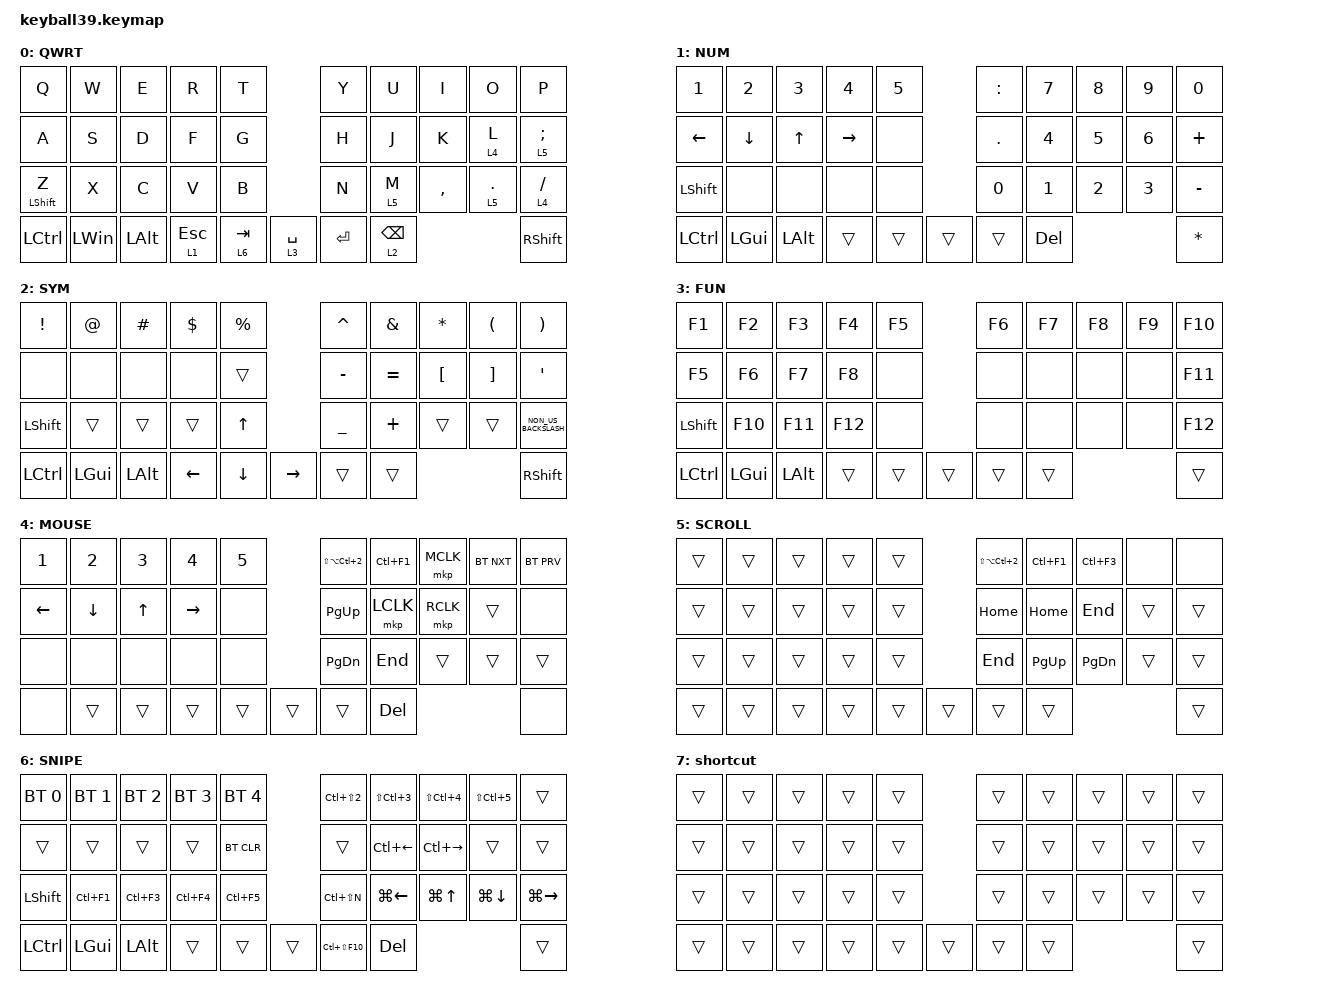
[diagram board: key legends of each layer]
#define DEFAULT 0
#define NUM     1
#define SYM     2
#define FUN     3
#define MOUSE   4
#define SCROLL  5
#define SNIPE   6

#include <behaviors/mouse_keys.dtsi>
#include <dt-bindings/zmk/mouse.h>
#include <dt-bindings/zmk/mouse.h>
#include <dt-bindings/zmk/mouse.h>
#include <dt-bindings/zmk/mouse.h>
#include <dt-bindings/zmk/mouse.h>
#include <dt-bindings/zmk/mouse.h>
#include <dt-bindings/zmk/mouse.h>
#include <dt-bindings/zmk/mouse.h>
#include <dt-bindings/zmk/mouse.h>
#include <dt-bindings/zmk/mouse.h>
#include <dt-bindings/zmk/mouse.h>
#include <dt-bindings/zmk/mouse.h>
#include <dt-bindings/zmk/mouse.h>
#include <dt-bindings/zmk/mouse.h>
#include <dt-bindings/zmk/mouse.h>
#include <dt-bindings/zmk/mouse.h>
#include <dt-bindings/zmk/mouse.h>
#include <dt-bindings/zmk/mouse.h>
#include <dt-bindings/zmk/mouse.h>
#include <dt-bindings/zmk/mouse.h>
#include <behaviors.dtsi>
#include <dt-bindings/zmk/bt.h>
#include <dt-bindings/zmk/keys.h>
#include <dt-bindings/zmk/mouse.h>

&lt {
    tapping-term-ms = <240>;
    flavor = "balanced";
    quick-tap-ms = <150>;
};

&mt {
    tapping-term-ms = <200>;
    flavor = "tap-preferred";
    quick-tap-ms = <150>;
};

&caps_word { continue-list = <UNDERSCORE MINUS>; };

/ {
    // custom shift using mod-morph 

    behaviors {
        cmqus: comma_question {
            compatible = "zmk,behavior-mod-morph";
            label = "COMMA_QUESTION";
            #binding-cells = <0>;
            bindings = <&kp COMMA>, <&kp QUESTION>;

            mods = <(MOD_LSFT|MOD_RSFT)>;
        };

        dtsmi: dot_semi {
            compatible = "zmk,behavior-mod-morph";
            label = "DOT_SEMI";
            #binding-cells = <0>;
            bindings = <&kp DOT>, <&kp SEMI>;

            mods = <(MOD_LSFT|MOD_RSFT)>;
        };
    };

    macros {
        Hiragana: Hiragana {
            compatible = "zmk,behavior-macro";
            #binding-cells = <0>;
            bindings = <&kp LC(SPACE)>;
            label = "HIRAGANA";
        };
    };

    keymap {
        compatible = "zmk,keymap";

        default_layer {
            label = "QWRT";
            bindings = <
&kp Q             &kp W         &kp E     &kp R         &kp T                              &kp Y            &kp U    &kp I      &kp O         &kp P
&kp A             &kp S         &kp D     &kp F         &kp G                              &kp H            &kp J    &kp K      &lt 4 L       &lt 5 SEMICOLON
&mt LEFT_SHIFT Z  &kp X         &kp C     &kp V         &kp B                              &kp N            &lt 5 M  &kp COMMA  &lt 5 PERIOD  &lt 4 SLASH
&kp LCTRL         &kp LEFT_WIN  &kp LALT  &lt 1 ESCAPE  &lt 6 TAB  &lt 3 SPACE  &kp ENTER  &lt 2 BACKSPACE                                    &kp RSHFT
            >;
        };

        number_layer {
            label = "NUM";
            bindings = <
&kp NUMBER_1  &kp NUMBER_2  &kp NUMBER_3  &kp NUMBER_4  &kp NUMBER_5                  &kp COLON     &kp NUMBER_7  &kp NUMBER_8  &kp NUMBER_9  &kp NUMBER_0
&kp LEFT      &kp DOWN      &kp UP_ARROW  &kp RIGHT     &none                         &kp PERIOD    &kp NUMBER_4  &kp NUMBER_5  &kp NUMBER_6  &kp PLUS
&kp LSHIFT    &none         &none         &none         &none                         &kp NUMBER_0  &kp NUMBER_1  &kp NUMBER_2  &kp NUMBER_3  &kp MINUS
&kp LCTRL     &kp LEFT_GUI  &kp LEFT_ALT  &trans        &trans        &trans  &trans  &kp DELETE                                              &kp ASTERISK
            >;
        };

        symbol_layer {
            label = "SYM";
            bindings = <
&kp EXCLAMATION  &kp AT_SIGN   &kp HASH      &kp DOLLAR  &kp PERCENT                     &kp CARET       &kp AMPERSAND  &kp ASTERISK      &kp LEFT_PARENTHESIS  &kp RIGHT_PARENTHESIS
&none            &none         &none         &none       &trans                          &kp MINUS       &kp EQUAL      &kp LEFT_BRACKET  &kp RIGHT_BRACKET     &kp SQT
&kp LEFT_SHIFT   &trans        &trans        &trans      &kp UP                          &kp UNDERSCORE  &kp PLUS       &trans            &trans                &kp NON_US_BACKSLASH
&kp LCTRL        &kp LEFT_GUI  &kp LEFT_ALT  &kp LEFT    &kp DOWN     &kp RIGHT  &trans  &trans                                                                 &kp RIGHT_SHIFT
            >;
        };

        function_layer {
            label = "FUN";
            bindings = <
&kp F1            &kp F2        &kp F3        &kp F4   &kp F5                  &kp F6  &kp F7  &kp F8  &kp F9  &kp F10
&kp F5            &kp F6        &kp F7        &kp F8   &none                   &none   &none   &none   &none   &kp F11
&kp LEFT_SHIFT    &kp F10       &kp F11       &kp F12  &none                   &none   &none   &none   &none   &kp F12
&kp LEFT_CONTROL  &kp LEFT_GUI  &kp LEFT_ALT  &trans   &trans  &trans  &trans  &trans                          &trans
            >;
        };

        mouse_layer {
            label = "MOUSE";
            bindings = <
&kp N1          &kp N2          &kp N3        &kp N4     &kp N5                  &kp LS(LA(LC(NUMBER_2)))  &kp LC(F1)  &mkp MCLK  &bt BT_NXT  &bt BT_PRV
&kp LEFT_ARROW  &kp DOWN_ARROW  &kp UP_ARROW  &kp RIGHT  &none                   &kp PAGE_UP               &mkp LCLK   &mkp RCLK  &trans      &none
&none           &none           &none         &none      &none                   &kp PAGE_DOWN             &kp END     &trans     &trans      &trans
&none           &trans          &trans        &trans     &trans  &trans  &trans  &kp DELETE                                                   &none
            >;
        };

        scroll_layer {
            label = "SCROLL";
            bindings = <
&trans  &trans  &trans  &trans  &trans                  &kp LS(LA(LC(NUMBER_2)))  &kp LC(F1)   &kp LC(F3)     &none   &none
&trans  &trans  &trans  &trans  &trans                  &kp HOME                  &kp HOME     &kp END        &trans  &trans
&trans  &trans  &trans  &trans  &trans                  &kp END                   &kp PAGE_UP  &kp PAGE_DOWN  &trans  &trans
&trans  &trans  &trans  &trans  &trans  &trans  &trans  &trans                                                        &trans
            >;
        };

        snipe_layer {
            label = "SNIPE";
            bindings = <
&bt BT_SEL 0      &bt BT_SEL 1  &bt BT_SEL 2  &bt BT_SEL 3  &bt BT_SEL 4                           &kp LC(LS(NUMBER_2))  &kp LS(LC(NUMBER_3))  &kp LS(LC(NUMBER_4))  &kp LS(LC(N5))  &trans
&trans            &trans        &trans        &trans        &bt BT_CLR                             &trans                &kp LC(LEFT)          &kp LC(RIGHT)         &trans          &trans
&kp LEFT_SHIFT    &kp LC(F1)    &kp LC(F3)    &kp LC(F4)    &kp LC(F5)                             &kp LC(LS(N))         &kp LG(LEFT)          &kp LG(UP_ARROW)      &kp LG(DOWN)    &kp LG(RIGHT)
&kp LEFT_CONTROL  &kp LEFT_GUI  &kp LEFT_ALT  &trans        &trans        &trans  &kp LC(LS(F10))  &kp DELETE                                                                        &trans
            >;
        };

        shortcut {
            bindings = <
&trans  &trans  &trans  &trans  &trans                  &trans  &trans  &trans  &trans  &trans
&trans  &trans  &trans  &trans  &trans                  &trans  &trans  &trans  &trans  &trans
&trans  &trans  &trans  &trans  &trans                  &trans  &trans  &trans  &trans  &trans
&trans  &trans  &trans  &trans  &trans  &trans  &trans  &trans                          &trans
            >;
        };
    };
};
